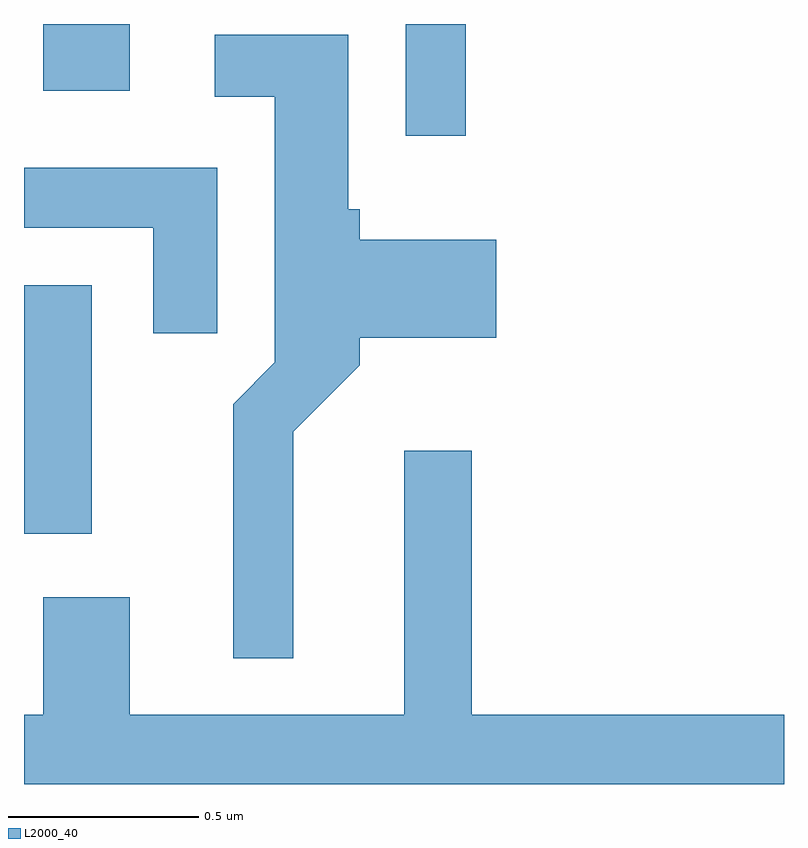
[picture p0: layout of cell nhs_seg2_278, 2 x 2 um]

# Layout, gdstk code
import gdstk
lib = gdstk.Library(unit=1e-6, precision=1e-09)
def R(c, l, rs):  # rectangles x0, y0, x1, y1
    for r in rs: c.add(gdstk.rectangle(r[:2], r[2:], *l))
def P(c, l, *ps):  # polygons
    for p in ps: c.add(gdstk.Polygon(p, *l))
L2000_40 = (2000, 40)

nhs_seg2_278 = lib.new_cell('nhs_seg2_278')
R(nhs_seg2_278, L2000_40, [(187.611,982.461,187.789,983.114), (188.616,983.508,188.774,983.802), (187.661,983.626,187.889,983.802)])
P(nhs_seg2_278, L2000_40, [(188.319,982.729),(188.494,982.904),(188.494,982.976),(188.854,982.976),(188.854,983.234),(188.494,983.234),(188.494,983.314),(188.464,983.314),(188.464,983.774),(188.113,983.774),(188.113,983.611),(188.271,983.611),(188.271,982.912),(188.161,982.802),(188.161,982.133),(188.319,982.133)],
  [(188.119,983.424),(187.611,983.424),(187.611,983.266),(187.951,983.266),(187.951,982.988),(188.119,982.988)],
  [(189.611,981.984),(188.789,981.984),(188.789,982.679),(188.611,982.679),(188.611,981.984),(187.889,981.984),(187.889,982.294),(187.661,982.294),(187.661,981.984),(187.611,981.984),(187.611,981.802),(189.611,981.802)])

lib.write_gds('nhs_seg2_278.gds')
